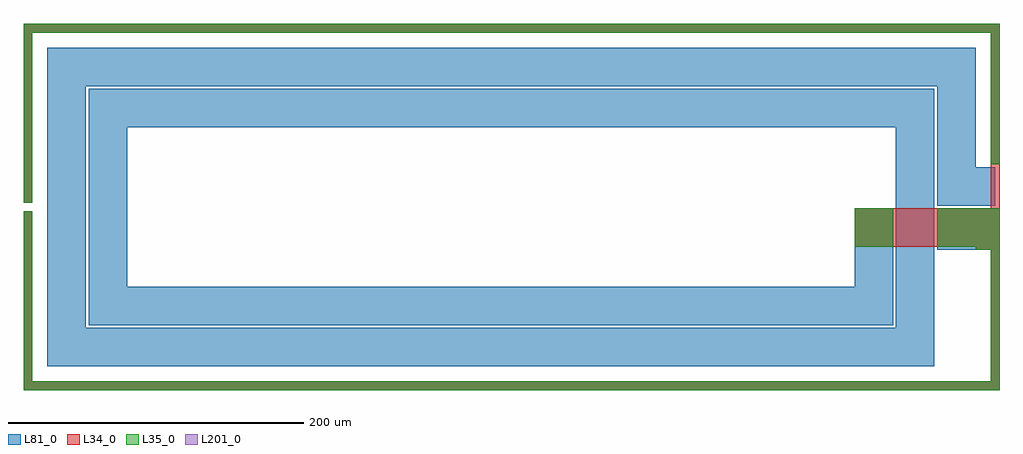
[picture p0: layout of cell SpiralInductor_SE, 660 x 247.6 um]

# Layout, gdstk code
import gdstk
lib = gdstk.Library(unit=1e-6, precision=1e-09)
def R(c, l, rs):  # rectangles x0, y0, x1, y1
    for r in rs: c.add(gdstk.rectangle(r[:2], r[2:], *l))
def P(c, l, *ps):  # polygons
    for p in ps: c.add(gdstk.Polygon(p, *l))
L34_0 = (34, 0)
L35_0 = (35, 0)
L81_0 = (81, 0)
L201_0 = (201, 0)

spiralinductor_se = lib.new_cell('SpiralInductor_SE')
R(spiralinductor_se, L34_0, [(-330,-123.8,-324,-3), (-330,-123.8,330,-117.8), (324,-123.8,330,-29), (314,-29,330,-1), (324,-29,330,29), (232,-27,314,-1), (-330,3,-324,123.8), (324,29,330,123.8), (-330,117.8,330,123.8)])
R(spiralinductor_se, L35_0, [(-330,-123.8,-324,-3), (-330,-123.8,330,-117.8), (324,-123.8,330,-29), (314,-29,330,-1), (232,-27,258,-1), (288,-27,314,-1), (-330,3,-324,123.8), (324,29,330,123.8), (-330,117.8,330,123.8)])
R(spiralinductor_se, L81_0, [(-330,-123.8,-324,-3), (-330,-123.8,330,-117.8), (324,-123.8,330,-29), (288,-29,330,-1), (-330,3,-324,123.8), (324,29,330,123.8), (-330,117.8,330,123.8)])
P(spiralinductor_se, L81_0, [(-314,-107.8),(-314,107.8),(314,107.8),(314,27),(327,27),(327,1),(288,1),(288,81.8),(-288,81.8),(-288,-81.8),(260,-81.8),(260,53.8),(-260,53.8),(-260,-53.8),(232,-53.8),(232,-1),(258,-1),(258,-79.8),(-286,-79.8),(-286,79.8),(286,79.8),(286,-107.8)])
P(spiralinductor_se, L201_0, [(327,1),(327,27),(327,27),(327,1)])

lib.write_gds('SpiralInductor_SE.gds')
